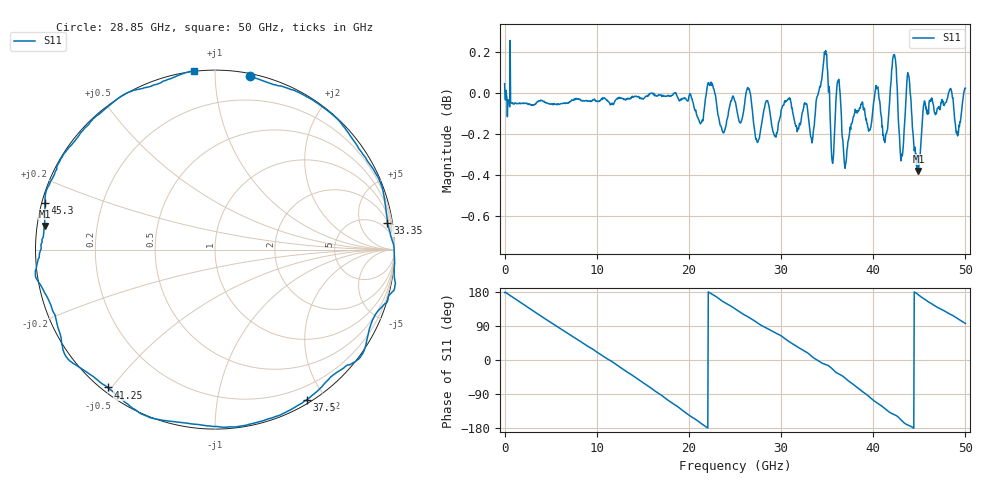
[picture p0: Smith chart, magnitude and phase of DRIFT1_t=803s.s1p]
!Created with skrf (http://scikit-rf.org).
# Hz S RI R 50.0
!freq ReS11 ImS11
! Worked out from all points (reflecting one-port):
!   1001 points, 300 kHz to 50 GHz, reference 50 ohm
!   lowest |S11| = -0.4 dB at 44.9 GHz (marker M1), VSWR 45.76, Z = 1.1 + j3.47 ohm
!   phase of S11 starts at 178 deg and turns -801 deg over the sweep
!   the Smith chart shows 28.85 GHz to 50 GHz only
!   S11 on the Smith chart (normalised r, x): 28.85 GHz: 0.02, +1.22; 33.35 GHz: 2, +13; 37.5 GHz: 0.04, -1.78; 41.25 GHz: 0.02, -0.49; 45.3 GHz: 0.01, +0.13; 50 GHz: -0.00, +0.89
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300000  -1.005 0.0361
1.75029e9  -0.8739 0.4736
3.600278e9  -0.5203 0.8481
6.250262e9  0.1778 0.978
7.950252e9  0.5948 0.7997
9.800241e9  0.9088 0.4079
1.250022e10  0.9449 -0.3185
1.400022e10  0.7346 -0.6754
1.59002e10  0.2685 -0.9631
1.72502e10  -0.1261 -0.9906
1.875019e10  -0.5376 -0.8406
2.020018e10  -0.8549 -0.5165
2.200017e10  -1.003 -0.0249
2.500015e10  -0.7073 0.7003
2.660014e10  -0.362 0.9329
2.885013e10  0.195 0.9676
3.125011e10  0.7295 0.6686
3.33501e10  0.9609 0.1494
3.500009e10  0.987 -0.2355
3.750008e10  0.5126 -0.8366
3.915007e10  0.0196 -0.9868
4.125005e10  -0.5966 -0.7681
4.245005e10  -0.8437 -0.5669
4.375004e10  -1 -0.1493
4.490003e10  -0.9481 0.1321
4.530003e10  -0.9468 0.259
4.725002e10  -0.7031 0.6978
5e10  -0.1155 0.9959
